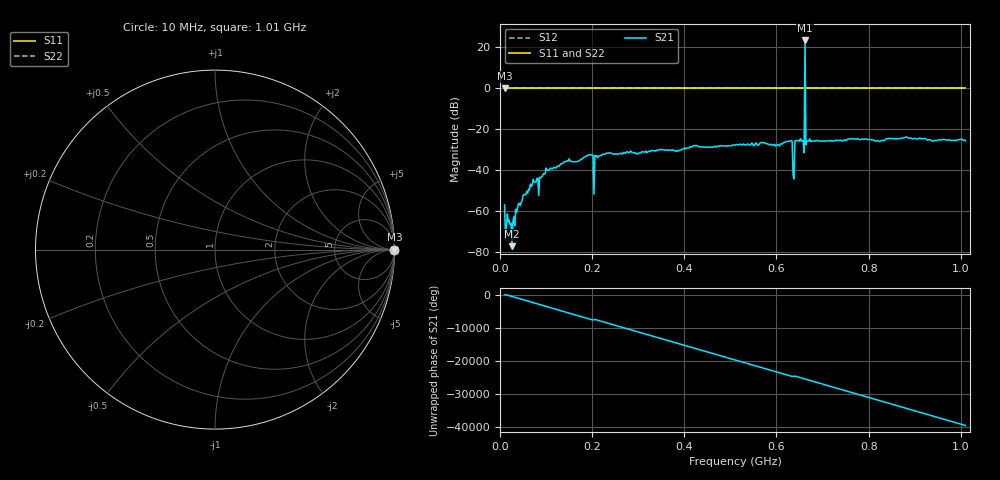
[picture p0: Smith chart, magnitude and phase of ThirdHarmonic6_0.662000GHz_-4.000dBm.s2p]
! 8/15/2025 9:59:49 PM
! C:\ANRITSUVNA\TEMP\TEMP.S2P
! CHANNEL.1
! TR.MEASUREMENT
! RAW.DATA
! RF.CORRECTION.OFF
! AVERAGING.OFF
! IF.BANDWIDTH: 5KHZ
! SWEEPTYPE:  FREQ.SWEEP(Linear)
! Reference Plane Port Info
! PORT:  PORT1  PORT2
! DISTANCE:  0  m  0  m
! TIME:  0  s  0  s
! PHASE.OFFSET:  0  deg.  0  deg.
! LOSS:  0  dB  0  dB
! REF.LOSS:  0  dB  0  dB
! REF.FREQ:  0  Hz  0  Hz
! Power Info
! POWER:  -20  dBm  -20  dBm
! EFF.POWER:  -20  dBm  -20  dBm
! SOURCE.ATTEN:  0  dB  0  dB
! TEST.ATTEN:  0  dB  0  dB
# GHZ S RI R 50.0
! FREQ.GHZ  S11RE  S11IM  S21RE  S21IM  S12RE  S12IM  S22RE  S22IM
!; PortSelection: Port_12
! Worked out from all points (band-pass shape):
!   501 points, 10 MHz to 1.01 GHz, reference 50 ohm
!   highest |S21| = 23.42 dB at 662 MHz (marker M1); lowest = -77.0 dB at 26 MHz (marker M2)
!   |S21| within 3 dB of the highest: 661.8905 MHz to 662.118 MHz (227.5 kHz wide, 0.0344 % of centre)
!   lowest |S11| = 0.0 dB at 10 MHz (marker M3)
!   |S11| at or under -10 dB: nowhere
!   |S22| runs from 0.0 to 0.0 dB; largest |S21 - S12| = 16
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0.01  1 0  0.00114 -0.000874  1 0  1 0
0.026  1 0  -0.000124 -6.97e-05  1 0  1 0
0.038  1 0  -0.000627 0.00105  1 0  1 0
0.07  1 0  -0.00171 -0.00409  1 0  1 0
0.178  1 0  -0.0184 -0.00392  1 0  1 0
0.198  1 0  -0.00249 0.0238  1 0  1 0
0.208  1 0  0.0143 0.0177  1 0  1 0
0.234  1 0  0.00206 0.0259  1 0  1 0
0.344  1 0  0.0298 -0.00821  1 0  1 0
0.51  1 0  -0.0377 0.0172  1 0  1 0
0.63  1 0  0.0504 0.0156  1 0  1 0
0.634  1 0  -0.0423 -0.03  1 0  1 0
0.638  1 0  -0.00619 9e-05  1 0  1 0
0.644  1 0  -0.0525 0.0111  1 0  1 0
0.656  1 0  0.0383 0.0365  1 0  1 0
0.658  1 0  0.0425 -0.0322  1 0  1 0
0.662  1 0  -14.53 2.979  1 0  1 0
0.666  1 0  0.0522 -0.00186  1 0  1 0
0.668  1 0  0.00598 -0.0514  1 0  1 0
0.678  1 0  -0.0275 -0.0433  1 0  1 0
0.844  1 0  0.0494 0.0355  1 0  1 0
1.01  1 0  -0.0527 -0.00321  1 0  1 0
